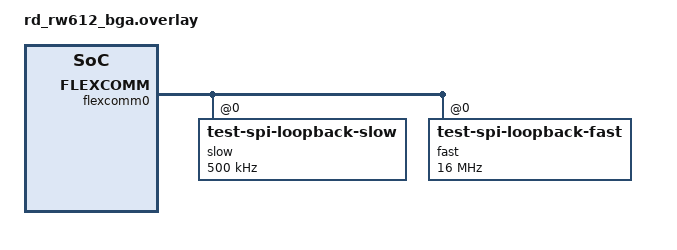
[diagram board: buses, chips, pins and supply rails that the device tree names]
/*
 * Copyright 2023-2024 NXP
 *
 * SPDX-License-Identifier: Apache-2.0
 */

tst_dma0: &dma0 {};

&flexcomm0 {
	slow@0 {
		compatible = "test-spi-loopback-slow";
		reg = <0>;
		spi-max-frequency = <500000>;
	};
	fast@0 {
		compatible = "test-spi-loopback-fast";
		reg = <0>;
		spi-max-frequency = <16000000>;
	};
};
